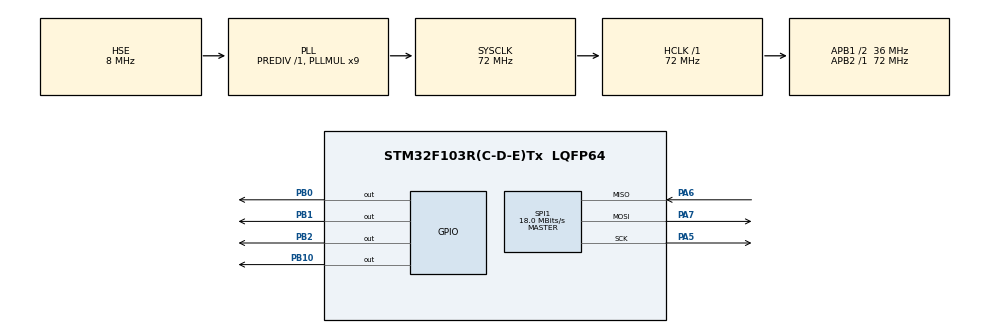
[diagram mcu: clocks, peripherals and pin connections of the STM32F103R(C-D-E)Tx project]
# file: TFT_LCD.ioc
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Mcu.Family=STM32F1
Mcu.Name=STM32F103R(C-D-E)Tx
Mcu.Package=LQFP64
NVIC.PriorityGroup=NVIC_PRIORITYGROUP_4
PA13.Mode=Serial_Wire
PA13.Signal=SYS_JTMS-SWDIO
PA14.Mode=Serial_Wire
PA14.Signal=SYS_JTCK-SWCLK
PA5.Mode=Full_Duplex_Master
PA5.Signal=SPI1_SCK
PA6.Mode=Full_Duplex_Master
PA6.Signal=SPI1_MISO
PA7.Mode=Full_Duplex_Master
PA7.Signal=SPI1_MOSI
PB0.Signal=GPIO_Output
PB1.Signal=GPIO_Output
PB10.Signal=GPIO_Output
PB2.Signal=GPIO_Output
PD0-OSC_IN.Mode=HSE-External-Oscillator
PD0-OSC_IN.Signal=RCC_OSC_IN
PD1-OSC_OUT.Mode=HSE-External-Oscillator
PD1-OSC_OUT.Signal=RCC_OSC_OUT
ProjectManager.HeapSize=0x200
ProjectManager.StackSize=0x1000
ProjectManager.TargetToolchain=MDK-ARM V5.32
RCC.AHBFreq_Value=72000000
RCC.APB1CLKDivider=RCC_HCLK_DIV2
RCC.APB1Freq_Value=36000000
RCC.APB1TimFreq_Value=72000000
RCC.APB2Freq_Value=72000000
RCC.APB2TimFreq_Value=72000000
RCC.HCLKFreq_Value=72000000
RCC.PLLMUL=RCC_PLL_MUL9
RCC.PLLSourceVirtual=RCC_PLLSOURCE_HSE
RCC.SYSCLKFreq_VALUE=72000000
RCC.SYSCLKSource=RCC_SYSCLKSOURCE_PLLCLK
RCC.USBFreq_Value=72000000
SPI1.BaudRatePrescaler=SPI_BAUDRATEPRESCALER_4
SPI1.CalculateBaudRate=18.0 MBits/s
SPI1.Direction=SPI_DIRECTION_2LINES
SPI1.Mode=SPI_MODE_MASTER
SPI1.VirtualType=VM_MASTER
TIM6.AutoReloadPreload=TIM_AUTORELOAD_PRELOAD_ENABLE
TIM6.Period=999
TIM6.Prescaler=71
VP_TIM6_VS_ClockSourceINT.Mode=Enable_Timer
board=custom

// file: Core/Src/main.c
/* USER CODE BEGIN Header */
/**
  ******************************************************************************
  * @file           : main.c
  * @brief          : Main program body
  ******************************************************************************
  * @attention
  *
  * Copyright (c) 2023 STMicroelectronics.
  * All rights reserved.
  *
  * This software is licensed under terms that can be found in the LICENSE file
  * in the root directory of this software component.
  * If no LICENSE file comes with this software, it is provided AS-IS.
  *
  ******************************************************************************
  */
/* USER CODE END Header */
#include "main.h"
#include "spi.h"
#include "tim.h"
#include "gpio.h"

/* USER CODE BEGIN Includes */
#include "ST7789.h"
#include "lvgl.h"
#include "ui.h"

/* USER CODE END Includes */

void SystemClock_Config(void);
    static lv_disp_draw_buf_t draw_buf_dsc_1;
    static lv_color_t buf_1[LV_HOR_RES_MAX * 10];                          /*A buffer for 10 rows*/

/* USER CODE BEGIN 0 */
static void disp_flush(lv_disp_drv_t * disp_drv, const lv_area_t * area, lv_color_t * color_p)
{
        /*The most simple case (but also the slowest) to put all pixels to the screen one-by-one*/

        int32_t x;
        int32_t y;
        for(y = area->y1; y <= area->y2; y++) {
            for(x = area->x1; x <= area->x2; x++) {
                /*Put a pixel to the display. For example:*/
                /*put_px(x, y, *color_p)*/
                LCD_DrawPoint((uint16_t)x,(uint16_t)y,(uint16_t)color_p->full);
                color_p++;
            }
        }

    /*IMPORTANT!!!
     *Inform the graphics library that you are ready with the flushing*/
    lv_disp_flush_ready(disp_drv);
}
void lvgl_Start()
{
  lv_disp_draw_buf_init(&draw_buf_dsc_1, buf_1, NULL, LV_HOR_RES_MAX * 10);   /*Initialize the display buffer*/
   static lv_disp_drv_t disp_drv;                         /*Descriptor of a display driver*/
    lv_disp_drv_init(&disp_drv);                    /*Basic initialization*/

    /*Set up the functions to access to your display*/

    /*Set the resolution of the display*/
    disp_drv.hor_res = LV_HOR_RES_MAX;
    disp_drv.ver_res = LV_VER_RES_MAX;

    /*Used to copy the buffer's content to the display*/
    disp_drv.flush_cb = disp_flush;

    /*Set a display buffer*/
    disp_drv.draw_buf = &draw_buf_dsc_1;
    lv_disp_drv_register(&disp_drv);

}

/* USER CODE END 0 */

int main(void)
{

  /* MCU Configuration--------------------------------------------------------*/

  /* Reset of all peripherals, Initializes the Flash interface and the Systick. */
  HAL_Init();

  /* Configure the system clock */
  SystemClock_Config();

  /* Initialize all configured peripherals */
  MX_GPIO_Init();
  MX_SPI1_Init();
  MX_TIM6_Init();
  /* USER CODE BEGIN 2 */
  LCD_Init();
  lcd_clear(BLACK);
  HAL_Delay(500);
  lv_init();

  lvgl_Start();

    ui_init();

    /* USER CODE END 2 */

  /* Infinite loop */
  while (1)
  {

      lv_task_handler();
      HAL_Delay(500);

  }
}

void SystemClock_Config(void)
{
  RCC_OscInitTypeDef RCC_OscInitStruct = {0};
  RCC_ClkInitTypeDef RCC_ClkInitStruct = {0};

  /** Initializes the RCC Oscillators according to the specified parameters
  * in the RCC_OscInitTypeDef structure.
  */
  RCC_OscInitStruct.OscillatorType = RCC_OSCILLATORTYPE_HSE;
  RCC_OscInitStruct.HSEState = RCC_HSE_ON;
  RCC_OscInitStruct.HSEPredivValue = RCC_HSE_PREDIV_DIV1;
  RCC_OscInitStruct.HSIState = RCC_HSI_ON;
  RCC_OscInitStruct.PLL.PLLState = RCC_PLL_ON;
  RCC_OscInitStruct.PLL.PLLSource = RCC_PLLSOURCE_HSE;
  RCC_OscInitStruct.PLL.PLLMUL = RCC_PLL_MUL9;
  if (HAL_RCC_OscConfig(&RCC_OscInitStruct) != HAL_OK)
  {
    Error_Handler();
  }
  /** Initializes the CPU, AHB and APB buses clocks
  */
  RCC_ClkInitStruct.ClockType = RCC_CLOCKTYPE_HCLK|RCC_CLOCKTYPE_SYSCLK
                              |RCC_CLOCKTYPE_PCLK1|RCC_CLOCKTYPE_PCLK2;
  RCC_ClkInitStruct.SYSCLKSource = RCC_SYSCLKSOURCE_PLLCLK;
  RCC_ClkInitStruct.AHBCLKDivider = RCC_SYSCLK_DIV1;
  RCC_ClkInitStruct.APB1CLKDivider = RCC_HCLK_DIV2;
  RCC_ClkInitStruct.APB2CLKDivider = RCC_HCLK_DIV1;

  if (HAL_RCC_ClockConfig(&RCC_ClkInitStruct, FLASH_LATENCY_2) != HAL_OK)
  {
    Error_Handler();
  }
}

void Error_Handler(void)
{
  __disable_irq();
  while (1)
  {
  }
}
